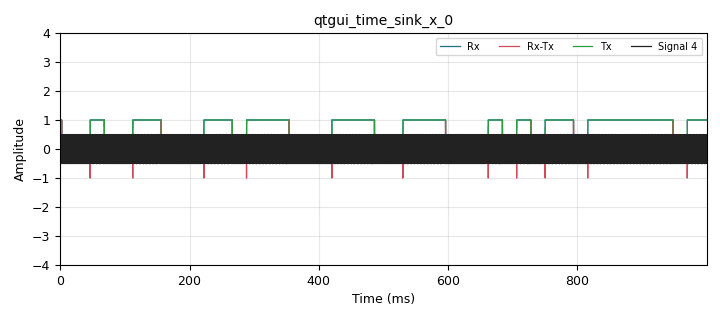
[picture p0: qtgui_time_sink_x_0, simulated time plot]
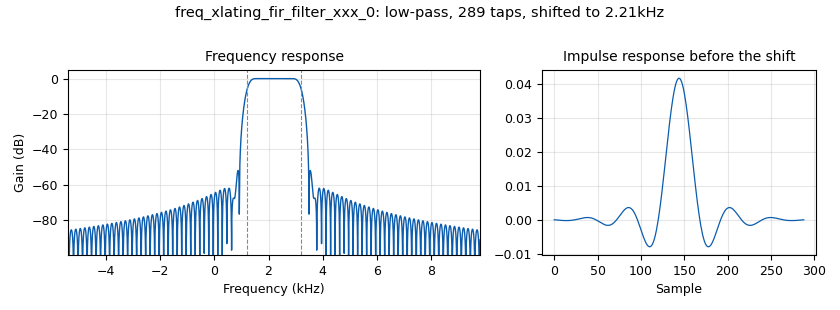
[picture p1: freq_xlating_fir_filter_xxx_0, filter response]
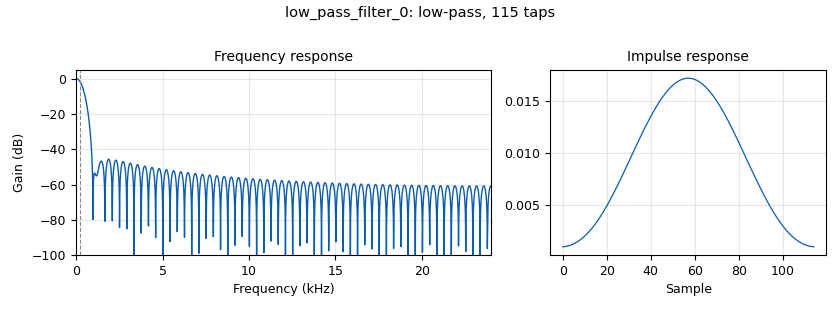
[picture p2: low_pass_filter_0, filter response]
options:
  parameters:
    generate_options: qt_gui
    id: fskExample
    output_language: python
    title: FSK Example
  states: {}

blocks:
- name: LPfsk
  id: variable_low_pass_filter_taps
  parameters:
    cutoff_freq: '1000'
    gain: '1.0'
    samp_rate: samp_rate
    width: '400'
    win: window.WIN_HAMMING
  states: {}
- name: baud
  id: variable
  parameters:
    comment: |-
      Baudot Radioteletype
      1 bit / 22 ms
    value: 1 / 22e-3
  states: {}
- name: delay
  id: variable_qtgui_range
  parameters:
    label: Delay
    start: '0'
    step: '1'
    stop: '250'
    value: '200'
  states: {}
- name: fc_Hz
  id: variable
  parameters:
    value: 2.21e3
  states: {}
- name: fskDeviation_Hz
  id: variable
  parameters:
    comment: mark_Hz - space_Hz
    value: mark_Hz - space_Hz
  states: {}
- name: inpAmp
  id: variable
  parameters:
    comment: fskDeviation_Hz / vcoMax_Hz
    value: fskDeviation_Hz / vcoMax_Hz
  states: {}
- name: mark_Hz
  id: variable
  parameters:
    value: '2295'
  states: {}
- name: samp_rate
  id: variable
  parameters:
    value: 48e3
  states: {}
- name: samplesPerBit
  id: variable
  parameters:
    comment: 1 bit = 48 kSa/s  x  22 ms/bit
    value: int(samp_rate * 22e-3)
  states: {}
- name: space_Hz
  id: variable
  parameters:
    value: '2125'
  states: {}
- name: sqLvl_dB
  id: variable_qtgui_range
  parameters:
    label: Squelch (dB)
    start: '-100'
    step: '5'
    stop: '0'
    value: '-70'
  states: {}
- name: vcoMax_Hz
  id: variable
  parameters:
    value: '2500'
  states: {}
- name: vcoOffset
  id: variable
  parameters:
    comment: space_Hz / vcoMax_Hz
    value: space_Hz / vcoMax_Hz
  states: {}
- name: analog_quadrature_demod_cf_0
  id: analog_quadrature_demod_cf
  parameters:
    comment: |-
      Output:
       1, if input freq shift > 0
       0, if input freq shift < 0
    gain: samp_rate / (2*math.pi*fskDeviation_Hz / 8.0)
  states: {}
- name: analog_random_source_x_0
  id: analog_random_source_x
  parameters:
    comment: 1024 random bytes
    max: '256'
    min: '0'
    num_samps: '1024'
    repeat: 'True'
    type: byte
  states: {}
- name: analog_simple_squelch_cc_0
  id: analog_simple_squelch_cc
  parameters:
    alpha: '1'
    comment: |-
      Unnecessary in this
      noiselsee simulation.
    threshold: sqLvl_dB
  states: {}
- name: blocks_add_const_vxx_0
  id: blocks_add_const_vxx
  parameters:
    comment: |-
      Offset for VCO to
      reach frequency.
      (1*68e-3 + 850e-3) * 2500 = 2295
      (0*68e-3 + 850e-3) * 2500 = 2125
    const: vcoOffset
    type: float
  states: {}
- name: blocks_delay_0
  id: blocks_delay
  parameters:
    delay: delay
    type: float
  states: {}
- name: blocks_multiply_const_vxx_0
  id: blocks_multiply_const_vxx
  parameters:
    comment: |-
      Deviate VCO by 170 Hz.
      68e-3 * 2500 = 170
    const: inpAmp
    type: float
  states: {}
- name: blocks_repeat_0
  id: blocks_repeat
  parameters:
    comment: |-
      Repeat to reach
      samples/bit.
    interp: samplesPerBit
    type: byte
  states: {}
- name: blocks_sub_xx_0
  id: blocks_sub_xx
  parameters:
    type: float
  states: {}
- name: blocks_throttle_0
  id: blocks_throttle
  parameters:
    samples_per_second: samp_rate
    type: byte
  states: {}
- name: blocks_uchar_to_float_0
  id: blocks_uchar_to_float
  parameters:
    comment: |-
      FIlters require float
      or complex inputs.
  states: {}
- name: blocks_uchar_to_float_1
  id: blocks_uchar_to_float
  parameters: {}
  states: {}
- name: blocks_unpack_k_bits_bb_0
  id: blocks_unpack_k_bits_bb
  parameters:
    comment: |-
      Unpack 8 bits
      into 8 bytes.
    k: '8'
  states: {}
- name: blocks_vco_f_0
  id: blocks_vco_f
  parameters:
    amplitude: '500e-3'
    samp_rate: samp_rate
    sensitivity: 2 * 3.1416 * 2500 / 1 / 1
  states: {}
- name: digital_binary_slicer_fb_0
  id: digital_binary_slicer_fb
  parameters:
    comment: Byte holding 0 or 1.
  states: {}
- name: freq_xlating_fir_filter_xxx_0
  id: freq_xlating_fir_filter_xxx
  parameters:
    center_freq: fc_Hz
    decim: '1'
    samp_rate: samp_rate
    taps: LPfsk
    type: fcc
  states: {}
- name: low_pass_filter_0
  id: low_pass_filter
  parameters:
    comment: |-
      Reduce bandwidth
      of  square wave.
    cutoff_freq: '200'
    decim: '1'
    gain: '1'
    samp_rate: samp_rate
    type: fir_filter_fff
    width: 1e3
    win: window.WIN_HAMMING
  states: {}
- name: note_0
  id: note
  parameters:
    note: Transmit chain
  states: {}
- name: note_0_0
  id: note
  parameters:
    note: Receive chain
  states: {}
- name: note_0_0_0
  id: note
  parameters:
    comment: |-
      Compare transmit and
      receive bit streams.
    note: Display
  states: {}
- name: note_0_1
  id: note
  parameters:
    note: Make bit stream
  states: {}
- name: note_0_1_0
  id: note
  parameters:
    note: Creat FSK from bits
  states: {}
- name: note_1
  id: note
  parameters:
    comment: |-
      This is an implementation of:

      https://wiki.gnuradio.org/index.php/Simulation_example:_FSK
    note: FSK Tutorial
  states: {}
- name: qtgui_time_sink_x_0
  id: qtgui_time_sink_x
  parameters:
    color1: red
    color2: green
    color3: cyan
    ctrlpanel: 'True'
    grid: 'True'
    label1: Rx
    label2: Rx-Tx
    label3: Tx
    nconnections: '4'
    size: '48000'
    srate: samp_rate
    type: float
    ymax: '4'
    ymin: '-4'
  states: {}
- name: virtual_sink_0
  id: virtual_sink
  parameters:
    comment: |-
      Ones and zeros
      (Marks and Spaces)
    stream_id: ttyBits
  states: {}
- name: virtual_sink_0_0
  id: virtual_sink
  parameters:
    stream_id: txFskBaudot
  states: {}
- name: virtual_sink_0_0_0
  id: virtual_sink
  parameters:
    stream_id: rxFskBaudot
  states: {}
- name: virtual_source_0
  id: virtual_source
  parameters:
    comment: |-
      Square wave of
      ones and zeros.
    stream_id: ttyBits
  states: {}
- name: virtual_source_0_0
  id: virtual_source
  parameters:
    stream_id: txFskBaudot
  states: {}
- name: virtual_source_0_0_0
  id: virtual_source
  parameters:
    comment: Bits received.
    stream_id: rxFskBaudot
  states: {}
- name: virtual_source_0_1
  id: virtual_source
  parameters:
    comment: Bits sent.
    stream_id: ttyBits
  states: {}
- name: virtual_source_1
  id: virtual_source
  parameters:
    stream_id: txFskBaudot
  states: {}

connections:
- [analog_quadrature_demod_cf_0, '0', digital_binary_slicer_fb_0, '0']
- [analog_random_source_x_0, '0', blocks_unpack_k_bits_bb_0, '0']
- [analog_simple_squelch_cc_0, '0', analog_quadrature_demod_cf_0, '0']
- [blocks_add_const_vxx_0, '0', blocks_vco_f_0, '0']
- [blocks_delay_0, '0', blocks_sub_xx_0, '1']
- [blocks_delay_0, '0', qtgui_time_sink_x_0, '2']
- [blocks_multiply_const_vxx_0, '0', blocks_add_const_vxx_0, '0']
- [blocks_repeat_0, '0', blocks_throttle_0, '0']
- [blocks_sub_xx_0, '0', qtgui_time_sink_x_0, '1']
- [blocks_throttle_0, '0', blocks_uchar_to_float_0, '0']
- [blocks_uchar_to_float_0, '0', virtual_sink_0, '0']
- [blocks_uchar_to_float_1, '0', virtual_sink_0_0_0, '0']
- [blocks_unpack_k_bits_bb_0, '0', blocks_repeat_0, '0']
- [blocks_vco_f_0, '0', virtual_sink_0_0, '0']
- [digital_binary_slicer_fb_0, '0', blocks_uchar_to_float_1, '0']
- [freq_xlating_fir_filter_xxx_0, '0', analog_simple_squelch_cc_0, '0']
- [low_pass_filter_0, '0', blocks_multiply_const_vxx_0, '0']
- [virtual_source_0, '0', low_pass_filter_0, '0']
- [virtual_source_0_0, '0', freq_xlating_fir_filter_xxx_0, '0']
- [virtual_source_0_0_0, '0', blocks_sub_xx_0, '0']
- [virtual_source_0_0_0, '0', qtgui_time_sink_x_0, '0']
- [virtual_source_0_1, '0', blocks_delay_0, '0']
- [virtual_source_1, '0', qtgui_time_sink_x_0, '3']

metadata:
  file_format: 1
